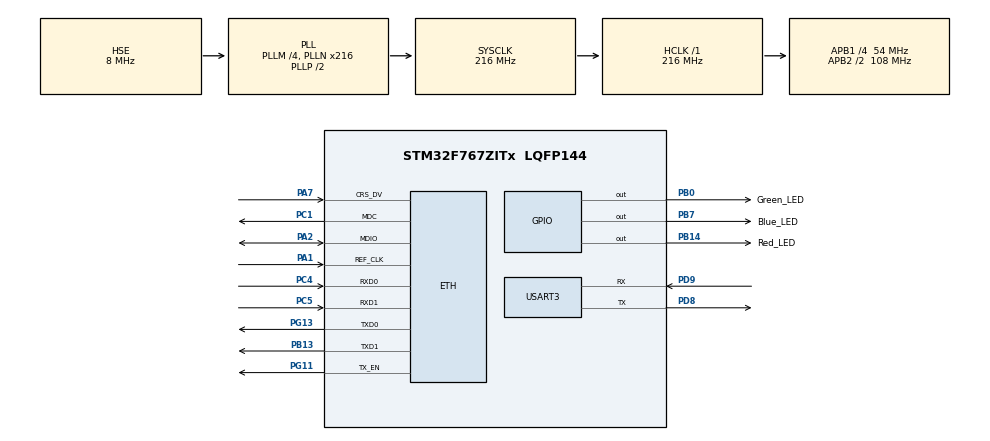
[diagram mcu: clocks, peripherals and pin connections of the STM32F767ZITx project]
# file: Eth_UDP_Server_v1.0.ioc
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ADC1.Channel-0\#ChannelRegularConversion=ADC_CHANNEL_TEMPSENSOR
ADC1.ClockPrescaler=ADC_CLOCK_SYNC_PCLK_DIV8
ADC1.ContinuousConvMode=ENABLE
ADC1.NbrOfConversionFlag=1
ADC1.Rank-0\#ChannelRegularConversion=1
ADC1.SamplingTime-0\#ChannelRegularConversion=ADC_SAMPLETIME_144CYCLES
ADC1.master=1
CORTEX_M7.CPU_DCache=Disabled
CORTEX_M7.CPU_ICache=Disabled
CORTEX_M7.MPU_Control=__NULL
CORTEX_M7.PREFETCH_ENABLE=0
ETH.MACAddr=00\:80\:E1\:00\:00\:01
ETH.MediaInterface=ETH_MEDIA_INTERFACE_RMII
ETH.PhyAddress=0
FREERTOS.INCLUDE_vTaskDelayUntil=1
FREERTOS.Tasks01=defaultTask,0,128,StartDefaultTask,Default,NULL,Dynamic,NULL,NULL
FREERTOS.configGENERATE_RUN_TIME_STATS=1
FREERTOS.configMAX_TASK_NAME_LEN=31
FREERTOS.configRECORD_STACK_HIGH_ADDRESS=1
FREERTOS.configUSE_IDLE_HOOK=1
FREERTOS.configUSE_STATS_FORMATTING_FUNCTIONS=1
FREERTOS.configUSE_TIMERS=1
FREERTOS.configUSE_TRACE_FACILITY=1
LWIP.GATEWAY_ADDRESS=192.168.178.001
LWIP.IP_ADDRESS=192.168.178.031
LWIP.LWIP_DHCP=0
LWIP.MEM_SIZE=10*1024
LWIP.NETMASK_ADDRESS=255.255.255.000
LWIP.Version=v2.1.2_Cube
Mcu.Family=STM32F7
Mcu.Name=STM32F767ZITx
Mcu.Package=LQFP144
NVIC.ETH_IRQn=true\:5\:0\:true\:false\:true\:false\:true\:true\:true
NVIC.ETH_WKUP_IRQn=true\:5\:0\:true\:false\:true\:false\:true\:true\:true
NVIC.PriorityGroup=NVIC_PRIORITYGROUP_4
NVIC.TIM1_TRG_COM_TIM11_IRQn=true\:5\:0\:false\:false\:true\:true\:true\:true\:true
NVIC.TIM1_UP_TIM10_IRQn=true\:0\:0\:false\:false\:true\:false\:false\:true\:true
NVIC.TimeBase=TIM1_UP_TIM10_IRQn
NVIC.TimeBaseIP=TIM10
PA1.Mode=RMII
PA1.Signal=ETH_REF_CLK
PA13.Mode=Serial_Wire
PA13.Signal=SYS_JTMS-SWDIO
PA14.Mode=Serial_Wire
PA14.Signal=SYS_JTCK-SWCLK
PA2.Mode=RMII
PA2.Signal=ETH_MDIO
PA7.Mode=RMII
PA7.Signal=ETH_CRS_DV
PB0.GPIO_Label=Green_LED
PB0.Signal=GPIO_Output
PB13.Mode=RMII
PB13.Signal=ETH_TXD1
PB14.GPIO_Label=Red_LED
PB14.Signal=GPIO_Output
PB7.GPIO_Label=Blue_LED
PB7.Signal=GPIO_Output
PC1.Mode=RMII
PC1.Signal=ETH_MDC
PC4.Mode=RMII
PC4.Signal=ETH_RXD0
PC5.Mode=RMII
PC5.Signal=ETH_RXD1
PD8.Mode=Asynchronous
PD8.Signal=USART3_TX
PD9.Mode=Asynchronous
PD9.Signal=USART3_RX
PG11.Mode=RMII
PG11.Signal=ETH_TX_EN
PG13.Mode=RMII
PG13.Signal=ETH_TXD0
PH0/OSC_IN.Mode=HSE-External-Oscillator
PH0/OSC_IN.Signal=RCC_OSC_IN
PH1/OSC_OUT.Mode=HSE-External-Oscillator
PH1/OSC_OUT.Signal=RCC_OSC_OUT
ProjectManager.HeapSize=0x200
ProjectManager.StackSize=0x400
ProjectManager.TargetToolchain=STM32CubeIDE
RCC.48MHZClocksFreq_Value=24000000
RCC.AHBFreq_Value=216000000
RCC.APB1CLKDivider=RCC_HCLK_DIV4
RCC.APB1Freq_Value=54000000
RCC.APB1TimFreq_Value=108000000
RCC.APB2CLKDivider=RCC_HCLK_DIV2
RCC.APB2Freq_Value=108000000
RCC.APB2TimFreq_Value=216000000
RCC.CortexFreq_Value=216000000
RCC.HCLKFreq_Value=216000000
RCC.HSE_VALUE=8000000
RCC.HSI_VALUE=16000000
RCC.LSE_VALUE=32768
RCC.PLLM=4
RCC.PLLMUL=RCC_PLL_MUL9
RCC.PLLN=216
RCC.PLLSourceVirtual=RCC_PLLSOURCE_HSE
RCC.PRESCALERUSB=RCC_USBCLKSOURCE_PLL_DIV1_5
RCC.SYSCLKFreq_VALUE=216000000
RCC.SYSCLKSource=RCC_SYSCLKSOURCE_PLLCLK
RCC.SYSCLKSourceVirtual=RCC_SYSCLKSOURCE_PLLCLK
RCC.USBFreq_Value=216000000
RCC.VCOOutputFreq_Value=432000000
TIM11.Period=1079
USART3.VirtualMode-Asynchronous=VM_ASYNC
VP_ADC1_TempSens_Input.Mode=IN-TempSens
VP_FREERTOS_VS_CMSIS_V1.Mode=CMSIS_V1
VP_LWIP_VS_Enabled.Mode=Enabled
VP_SYS_VS_tim10.Mode=TIM10
VP_TIM11_VS_ClockSourceINT.Mode=Enable_Timer
board=NUCLEO-F767ZI

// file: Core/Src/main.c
/* USER CODE BEGIN Header */
/**
  ******************************************************************************
  * @file           : main.c
  * @brief          : Main program body
  ******************************************************************************
  * @attention
  * 	-> Keep this as backup. Don't change/edit/update this project.
  * 	-> Test_2B | fromS
  * 	-> Tag: DONE | WORKING | :)
  *
  *		>> improved:
  *			|- FreeRTOS Debugging added
  * 		|- new queue added to send temperature data also through UART
  *
  * Description: Ethernet Programming with implementation of UDP Server
  * 		   : Tasks:- 1. Heart beat implementation using software timer and visualized by
  * 		   				toggeling green led
  * 		          :- 2. Reading internal temperature sensor at 1 kHz frequency and
  * 		                sending the current and average raw value to the gate keeper.
  * 		                Also visualized by toggeling Blue led
  * 		          :- 3. Ethernet UDP server implementation. Receiving the messages
  * 		                from UDP client and sending it to the gate keeper
  * 		                by implementing ECHO function (Visualized by toggeling Red led).
  * 		          :- 4. Gate keeper implementation. Sending the messages via UDP interface.
  *
  *		-TIM11: Used for Debugging purpose (108MHz/(1079+1) = 100 KHz)
  *
  *
  ******************************************************************************
  */
/* USER CODE END Header */
#include "main.h"
//#include "cmsis_os.h"
#include "lwip.h"

/* USER CODE BEGIN Includes */
#include "FreeRTOS.h"
#include "task.h"
#include "queue.h"
#include "lwip/sockets.h"
#include <stdio.h>
/* USER CODE END Includes */

/* USER CODE BEGIN PD */
#define HEART_BEAT_RATE 250				// Heart beat frequency (2Hz)
#define TEMP_READING_RATE 1000			// Temp. reading frequency (1Hz)
#define OWN_PORT 6799					// available server port
#define OWN_IP_ADDR "192.168.178.31"	// available server ip address
#define CLIENT_PORT 7003				// client port
#define TRUE 1
#define FALSE 0
#define BUFFER_LENGTH (40UL)  // Buffer length
/* USER CODE END PD */

 ADC_HandleTypeDef hadc1;

TIM_HandleTypeDef htim11;

UART_HandleTypeDef huart3;

//osThreadId defaultTaskHandle;
/* USER CODE BEGIN PV */
//TimerHandle_t HeartBeat_Timer;
//BaseType_t Timer_State;
QueueHandle_t Own_Queue;
QueueHandle_t temperatureVal_queue;
int socket_id;			// variable for socket id
// Struct variable to pass data to gate keeper task
typedef struct queue_struct{
	in_addr_t addr;
	in_port_t port;
	char msg_buffer[BUFFER_LENGTH];
}queue_struct;
typedef struct tempVal_struct{
	uint32_t lastVal;
	uint32_t avrVal;
}tempVal_struct;
/* USER CODE END PV */

void SystemClock_Config(void);
static void MX_GPIO_Init(void);
static void MX_ADC1_Init(void);
static void MX_USART3_UART_Init(void);
static void MX_TIM11_Init(void);
//void StartDefaultTask(void const * argument);

/* USER CODE BEGIN PFP */
void vTemp_Task(void *pvParameters);			// Temperature task
void HeartBeatCallback(TimerHandle_t xTimer);	// Software timer
void vGateKeeper_Task(void *pvParameters);		// Gaterkeeper task
void vUDP_Task(void *pvParameters);				// UDP task
void vAplicationIdleHook(void);					// Idle Hook task
/* USER CODE END PFP */

int main(void)
{
  /* USER CODE BEGIN 1 */
  TimerHandle_t HeartBeat_Timer;
  BaseType_t Timer_State;

  /* USER CODE END 1 */

  /* MCU Configuration--------------------------------------------------------*/

  /* Reset of all peripherals, Initializes the Flash interface and the Systick. */
  HAL_Init();

  /* Configure the system clock */
  SystemClock_Config();

  /* Initialize all configured peripherals */
  MX_GPIO_Init();
  MX_ADC1_Init();
  MX_USART3_UART_Init();
  MX_TIM11_Init();
  /* USER CODE BEGIN 2 */
  // sending data through USART at the beginning of Programm

  MX_LWIP_Init();

  char stri[] = "\n---------- Programm started!!! ----------\n\n\r";
  HAL_UART_Transmit(&huart3, (uint8_t*)stri, strlen(stri), HAL_MAX_DELAY);

  /* USER CODE END 2 */

  /* USER CODE BEGIN RTOS_MUTEX */
  /* add mutexes, ... */
  Own_Queue = xQueueCreate(3,sizeof(struct queue_struct));
  temperatureVal_queue = xQueueCreate(5, sizeof(tempVal_struct));
  /* USER CODE END RTOS_MUTEX */

  /* USER CODE BEGIN RTOS_TIMERS */
  /* start timers, add new ones, ... */
  HeartBeat_Timer = xTimerCreate("HeartBeat", pdMS_TO_TICKS(HEART_BEAT_RATE), pdTRUE, 0, HeartBeatCallback);
  /* USER CODE END RTOS_TIMERS */

  /* Create the thread(s) */
  /* definition and creation of defaultTask */
//  osThreadDef(defaultTask, StartDefaultTask, osPriorityNormal, 0, 128);
//  defaultTaskHandle = osThreadCreate(osThread(defaultTask), NULL);

  /* USER CODE BEGIN RTOS_THREADS */
  /* add threads, ... */
  xTaskCreate(vTemp_Task, "Temp_Task",configMINIMAL_STACK_SIZE*2, NULL,1, NULL);		// Stacksize 128kB
  xTaskCreate(vGateKeeper_Task,"GateKeeper",4*configMINIMAL_STACK_SIZE,NULL,2,NULL);	// Stacksize 4*128kB
  xTaskCreate(vUDP_Task,"UDP_Task",4*configMINIMAL_STACK_SIZE,NULL,1,NULL);					// Stacksize 4*128kB

  if(HeartBeat_Timer != NULL){
	  Timer_State = xTimerStart(HeartBeat_Timer,0);
	  if(Timer_State == pdPASS){
		  vTaskStartScheduler();
	  }
  }

  /* USER CODE END RTOS_THREADS */

  /* Start scheduler */
//  osKernelStart();

  /* We should never get here as control is now taken by the scheduler */
  /* Infinite loop */
  while (1)
  {

  }
}

void SystemClock_Config(void)
{
  RCC_OscInitTypeDef RCC_OscInitStruct = {0};
  RCC_ClkInitTypeDef RCC_ClkInitStruct = {0};

  /** Configure the main internal regulator output voltage
  */
  __HAL_RCC_PWR_CLK_ENABLE();
  __HAL_PWR_VOLTAGESCALING_CONFIG(PWR_REGULATOR_VOLTAGE_SCALE1);

  /** Initializes the RCC Oscillators according to the specified parameters
  * in the RCC_OscInitTypeDef structure.
  */
  RCC_OscInitStruct.OscillatorType = RCC_OSCILLATORTYPE_HSE;
  RCC_OscInitStruct.HSEState = RCC_HSE_ON;
  RCC_OscInitStruct.PLL.PLLState = RCC_PLL_ON;
  RCC_OscInitStruct.PLL.PLLSource = RCC_PLLSOURCE_HSE;
  RCC_OscInitStruct.PLL.PLLM = 4;
  RCC_OscInitStruct.PLL.PLLN = 216;
  RCC_OscInitStruct.PLL.PLLP = RCC_PLLP_DIV2;
  RCC_OscInitStruct.PLL.PLLQ = 2;
  RCC_OscInitStruct.PLL.PLLR = 2;
  if (HAL_RCC_OscConfig(&RCC_OscInitStruct) != HAL_OK)
  {
    Error_Handler();
  }

  /** Activate the Over-Drive mode
  */
  if (HAL_PWREx_EnableOverDrive() != HAL_OK)
  {
    Error_Handler();
  }

  /** Initializes the CPU, AHB and APB buses clocks
  */
  RCC_ClkInitStruct.ClockType = RCC_CLOCKTYPE_HCLK|RCC_CLOCKTYPE_SYSCLK
                              |RCC_CLOCKTYPE_PCLK1|RCC_CLOCKTYPE_PCLK2;
  RCC_ClkInitStruct.SYSCLKSource = RCC_SYSCLKSOURCE_PLLCLK;
  RCC_ClkInitStruct.AHBCLKDivider = RCC_SYSCLK_DIV1;
  RCC_ClkInitStruct.APB1CLKDivider = RCC_HCLK_DIV4;
  RCC_ClkInitStruct.APB2CLKDivider = RCC_HCLK_DIV2;

  if (HAL_RCC_ClockConfig(&RCC_ClkInitStruct, FLASH_LATENCY_7) != HAL_OK)
  {
    Error_Handler();
  }
}

static void MX_ADC1_Init(void)
{

  ADC_ChannelConfTypeDef sConfig = {0};

  /** Configure the global features of the ADC (Clock, Resolution, Data Alignment and number of conversion)
  */
  hadc1.Instance = ADC1;
  hadc1.Init.ClockPrescaler = ADC_CLOCK_SYNC_PCLK_DIV8;
  hadc1.Init.Resolution = ADC_RESOLUTION_12B;
  hadc1.Init.ScanConvMode = ADC_SCAN_DISABLE;
  hadc1.Init.ContinuousConvMode = ENABLE;
  hadc1.Init.DiscontinuousConvMode = DISABLE;
  hadc1.Init.ExternalTrigConvEdge = ADC_EXTERNALTRIGCONVEDGE_NONE;
  hadc1.Init.ExternalTrigConv = ADC_SOFTWARE_START;
  hadc1.Init.DataAlign = ADC_DATAALIGN_RIGHT;
  hadc1.Init.NbrOfConversion = 1;
  hadc1.Init.DMAContinuousRequests = DISABLE;
  hadc1.Init.EOCSelection = ADC_EOC_SINGLE_CONV;
  if (HAL_ADC_Init(&hadc1) != HAL_OK)
  {
    Error_Handler();
  }

  /** Configure for the selected ADC regular channel its corresponding rank in the sequencer and its sample time.
  */
  sConfig.Channel = ADC_CHANNEL_TEMPSENSOR;
  sConfig.Rank = ADC_REGULAR_RANK_1;
  sConfig.SamplingTime = ADC_SAMPLETIME_144CYCLES;
  if (HAL_ADC_ConfigChannel(&hadc1, &sConfig) != HAL_OK)
  {
    Error_Handler();
  }

}

static void MX_TIM11_Init(void)
{

  htim11.Instance = TIM11;
  htim11.Init.Prescaler = 0;
  htim11.Init.CounterMode = TIM_COUNTERMODE_UP;
  htim11.Init.Period = 1079;
  htim11.Init.ClockDivision = TIM_CLOCKDIVISION_DIV1;
  htim11.Init.AutoReloadPreload = TIM_AUTORELOAD_PRELOAD_DISABLE;
  if (HAL_TIM_Base_Init(&htim11) != HAL_OK)
  {
    Error_Handler();
  }

}

static void MX_USART3_UART_Init(void)
{

  huart3.Instance = USART3;
  huart3.Init.BaudRate = 115200;
  huart3.Init.WordLength = UART_WORDLENGTH_8B;
  huart3.Init.StopBits = UART_STOPBITS_1;
  huart3.Init.Parity = UART_PARITY_NONE;
  huart3.Init.Mode = UART_MODE_TX_RX;
  huart3.Init.HwFlowCtl = UART_HWCONTROL_NONE;
  huart3.Init.OverSampling = UART_OVERSAMPLING_16;
  huart3.Init.OneBitSampling = UART_ONE_BIT_SAMPLE_DISABLE;
  huart3.AdvancedInit.AdvFeatureInit = UART_ADVFEATURE_NO_INIT;
  if (HAL_UART_Init(&huart3) != HAL_OK)
  {
    Error_Handler();
  }

}

static void MX_GPIO_Init(void)
{
  GPIO_InitTypeDef GPIO_InitStruct = {0};

  /* GPIO Ports Clock Enable */
  __HAL_RCC_GPIOH_CLK_ENABLE();
  __HAL_RCC_GPIOC_CLK_ENABLE();
  __HAL_RCC_GPIOA_CLK_ENABLE();
  __HAL_RCC_GPIOB_CLK_ENABLE();
  __HAL_RCC_GPIOD_CLK_ENABLE();
  __HAL_RCC_GPIOG_CLK_ENABLE();

  /*Configure GPIO pin Output Level */
  HAL_GPIO_WritePin(GPIOB, Green_LED_Pin|Red_LED_Pin|Blue_LED_Pin, GPIO_PIN_RESET);

  /*Configure GPIO pins : Green_LED_Pin Red_LED_Pin Blue_LED_Pin */
  GPIO_InitStruct.Pin = Green_LED_Pin|Red_LED_Pin|Blue_LED_Pin;
  GPIO_InitStruct.Mode = GPIO_MODE_OUTPUT_PP;
  GPIO_InitStruct.Pull = GPIO_NOPULL;
  GPIO_InitStruct.Speed = GPIO_SPEED_FREQ_LOW;
  HAL_GPIO_Init(GPIOB, &GPIO_InitStruct);

}

/* USER CODE BEGIN 4 */
/* Idle Hook task */
void vAplicationIdleHook(void){
	__WFI();
}

/* Timer callback function */
void HeartBeatCallback(TimerHandle_t xTimer){
	HAL_GPIO_TogglePin(GPIOB, Green_LED_Pin);
}

/* Temperature reading task */
void vTemp_Task(void *pvParameters)
{
	char stri1[] = "{vTemp_Task} [Info]	Entered vTemp_Task.\n\r";
    HAL_UART_Transmit(&huart3, (uint8_t*)stri1, strlen(stri1), HAL_MAX_DELAY);

	TickType_t xLastWakeTime;
	static uint16_t counter = 0; // Counter variable to count tempr. reading
	static uint32_t temp_sum = 0; // variable to store sum of temp. value
	uint32_t temp = 0;			// variable to store current temp. value
	uint32_t temp_avr = 0;		// variable to store average temp. value
	queue_struct from_temp_task; // structure variable to store data for gate keeper task
	from_temp_task.port = htons(CLIENT_PORT);	// port for client
	from_temp_task.addr = IPADDR_BROADCAST;	// client address
	// variable for data over uart
	tempVal_struct tempStruct;

	xLastWakeTime = xTaskGetTickCount();

	while(1){

		/* Read temp. adc value */
		HAL_ADC_Start(&hadc1);
		while(HAL_ADC_PollForConversion(&hadc1,1) != HAL_OK){}
		temp = HAL_ADC_GetValue(&hadc1);
		temp_sum += temp;
		counter++;
		temp_avr = temp_sum / counter;	// get average value
		HAL_ADC_Stop(&hadc1);

		memset(&from_temp_task.msg_buffer, 0, BUFFER_LENGTH); // clear the character buffer
		/* make a string */
		sprintf(from_temp_task.msg_buffer,"Cur_Temp= %lu , Avr_Temp= %lu\n",(unsigned long)temp,(unsigned long)temp_avr);

		tempStruct.lastVal = temp;
		tempStruct.avrVal = temp_avr;

		HAL_GPIO_TogglePin(GPIOB, Blue_LED_Pin);	// toggel blue led

		xQueueSendToBack(Own_Queue, &from_temp_task, 10);	// send message to gatekeeper task
		xQueueSendToBack(temperatureVal_queue, &tempStruct, 10);

		vTaskDelayUntil(&xLastWakeTime, TEMP_READING_RATE); // wait till timeout
	}
}

/* UDP task */
void vUDP_Task(void *pvParameters)
{
	char stri1[] = "{vUDP_Task} [Info]	Entered vUDP_Task.\n\r";
	HAL_UART_Transmit(&huart3, (uint8_t*)stri1, strlen(stri1), HAL_MAX_DELAY);

	struct sockaddr_in client_addr; // struct variable for udp client
	struct sockaddr_in server_addr; // struct variable for udp server
	queue_struct from_udp_task;		// struct variable to pass through gate keeper
	uint8_t echo_flag = FALSE;		// echo flag
	socklen_t from_len;

	/*
	 * Create socket descriptor : "Domain=AF_INET","Type=SOCK_DGRAM","Protocol=0"
	 *  AF_INET= Connect with different machine, SOCK_DGRAM= UDP, 0=No additional protocol
	 *  */

	HAL_GPIO_WritePin(GPIOB, Red_LED_Pin, GPIO_PIN_SET); // turn on Red-LED

	socket_id = socket(AF_INET,SOCK_DGRAM,0);

//	Reset structure variable
	memset(&server_addr, 0, sizeof(server_addr));
	memset(&client_addr, 0, sizeof(client_addr));

// Initialize port
	server_addr.sin_family = AF_INET;	// Domain used in socket descriptor
	server_addr.sin_addr.s_addr = inet_addr(OWN_IP_ADDR); // Permit given IP Address
//	server_addr.sin_addr.s_addr = htonl(INADDR_ANY);
	server_addr.sin_port = htons(OWN_PORT);	// Permit given Port

//	Bind the socket to a defined port
	if (bind(socket_id,(struct sockaddr *) &server_addr, sizeof(server_addr)) == -1){
		Error_Handler();
	}

	from_len = sizeof(client_addr);

//	Endlos loop
	while(1){
		HAL_GPIO_TogglePin(GPIOB, Red_LED_Pin);	// toggle blue led

//	Clear recv_data array
		memset(&from_udp_task.msg_buffer,0,BUFFER_LENGTH);
//	Receive data from server
		recvfrom(socket_id,from_udp_task.msg_buffer,sizeof(from_udp_task.msg_buffer),0,(struct sockaddr *)&client_addr,&from_len);

// Set flag according received message
		if(strcmp(from_udp_task.msg_buffer,"ECHO_ON") == 0){
//			HAL_GPIO_WritePin(GPIOB, Red_LED_Pin,GPIO_PIN_SET);
			echo_flag = TRUE;
		}
		else if(strcmp(from_udp_task.msg_buffer,"ECHO_OFF")== 0){
//			HAL_GPIO_WritePin(GPIOB, Red_LED_Pin,GPIO_PIN_RESET);
			echo_flag = FALSE;
		}

		if (echo_flag == TRUE){
			from_udp_task.addr = client_addr.sin_addr.s_addr;
			from_udp_task.port = client_addr.sin_port;
			/* Make string */
			sprintf(from_udp_task.msg_buffer, "%s\n", from_udp_task.msg_buffer);
			xQueueSend(Own_Queue, &from_udp_task, 10); // send to gatekeeper task
		}
	}
}

/* Gatekeeper task */
void vGateKeeper_Task(void *pvParameters)
{
	char stri1[] = "{vGateKeeper_Task} [Info]	Entered vGateKeeper_Task.\n\r";
	HAL_UART_Transmit(&huart3, (uint8_t*)stri1, strlen(stri1), HAL_MAX_DELAY);

	queue_struct recv_from; // struct variable to store received message from queue
	struct sockaddr_in client_addr; // struct variable for udp client

	tempVal_struct tempStruct;
	char s_tempVal[50];

	while(1){
		memset(&recv_from,0,sizeof(recv_from)); // reset the struct variable
		xQueueReceive(Own_Queue, &recv_from, portMAX_DELAY); // receive message

		/* UDP client initialization */
		client_addr.sin_family = AF_INET;
		client_addr.sin_addr.s_addr = recv_from.addr;
		client_addr.sin_port = recv_from.port;

		// Send Temperature data through UART
		xQueueReceive(temperatureVal_queue, &tempStruct, portMAX_DELAY); // receive message
		sprintf(s_tempVal,"Temp-Last-Val= %lu , Temp-Avr-Val= %lu\n\r", tempStruct.lastVal, tempStruct.avrVal);
		HAL_UART_Transmit(&huart3, (uint8_t*)s_tempVal, strlen(s_tempVal), HAL_MAX_DELAY);

		/* Send message via UDP interface */
		sendto(socket_id,recv_from.msg_buffer,sizeof(recv_from.msg_buffer),0,(struct sockaddr *)&client_addr,sizeof(client_addr));

//		char *hello = "Hello from server";

//		sendto(socket_id, (const char *)hello, strlen(hello), 0, (const struct sockaddr *) &client_addr, sizeof(client_addr));
	}
}
/* USER CODE END 4 */

//void StartDefaultTask(void const * argument)
//{
//  /* init code for LWIP */
//  MX_LWIP_Init();
//  /* USER CODE BEGIN 5 */
//  /* Infinite loop */
//  for(;;)
//  {
//    osDelay(1);
//  }
//  /* USER CODE END 5 */
//}

void HAL_TIM_PeriodElapsedCallback(TIM_HandleTypeDef *htim)
{
  if (htim->Instance == TIM10) {
    HAL_IncTick();
  }
}

void Error_Handler(void)
{
}

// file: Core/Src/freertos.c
/* USER CODE BEGIN Header */
/**
  ******************************************************************************
  * File Name          : freertos.c
  * Description        : Code for freertos applications
  ******************************************************************************
  * @attention
  *
  * <h2><center>&copy; Copyright (c) 2022 STMicroelectronics.
  * All rights reserved.</center></h2>
  *
  * This software component is licensed by ST under Ultimate Liberty license
  * SLA0044, the "License"; You may not use this file except in compliance with
  * the License. You may obtain a copy of the License at:
  *                             www.st.com/SLA0044
  *
  ******************************************************************************
  */
/* USER CODE END Header */

#include "FreeRTOS.h"
#include "task.h"
#include "main.h"

/* USER CODE BEGIN Variables */
volatile unsigned long ulStatsTimerticks;
extern TIM_HandleTypeDef htim11;
/* USER CODE END Variables */

/* GetIdleTaskMemory prototype (linked to static allocation support) */
void vApplicationGetIdleTaskMemory( StaticTask_t **ppxIdleTaskTCBBuffer, StackType_t **ppxIdleTaskStackBuffer, uint32_t *pulIdleTaskStackSize );

/* GetTimerTaskMemory prototype (linked to static allocation support) */
void vApplicationGetTimerTaskMemory( StaticTask_t **ppxTimerTaskTCBBuffer, StackType_t **ppxTimerTaskStackBuffer, uint32_t *pulTimerTaskStackSize );

/* Hook prototypes */
void configureTimerForRunTimeStats(void);
unsigned long getRunTimeCounterValue(void);
void vApplicationIdleHook(void);

/* USER CODE BEGIN 1 */
/* Functions needed when configGENERATE_RUN_TIME_STATS is on */
__weak void configureTimerForRunTimeStats(void)
{
//	ulStatsTimerticks = 0;
//	HAL_TIM_Base_Start_IT(&htim11);
	CoreDebug->DEMCR |= CoreDebug_DEMCR_TRCENA_Msk;
	DWT->CTRL |= 1;
	DWT->CYCCNT = 0;
}

__weak unsigned long getRunTimeCounterValue(void)
{
//	return ulStatsTimerticks;
	return DWT->CYCCNT;
}
/* USER CODE END 1 */

/* USER CODE BEGIN 2 */
__weak void vApplicationIdleHook( void )
{
   /* vApplicationIdleHook() will only be called if configUSE_IDLE_HOOK is set
   to 1 in FreeRTOSConfig.h. It will be called on each iteration of the idle
   task. It is essential that code added to this hook function never attempts
   to block in any way (for example, call xQueueReceive() with a block time
   specified, or call vTaskDelay()). If the application makes use of the
   vTaskDelete() API function (as this demo application does) then it is also
   important that vApplicationIdleHook() is permitted to return to its calling
   function, because it is the responsibility of the idle task to clean up
   memory allocated by the kernel to any task that has since been deleted. */
}
/* USER CODE END 2 */

/* USER CODE BEGIN GET_IDLE_TASK_MEMORY */
static StaticTask_t xIdleTaskTCBBuffer;
static StackType_t xIdleStack[configMINIMAL_STACK_SIZE];

void vApplicationGetIdleTaskMemory( StaticTask_t **ppxIdleTaskTCBBuffer, StackType_t **ppxIdleTaskStackBuffer, uint32_t *pulIdleTaskStackSize )
{
  *ppxIdleTaskTCBBuffer = &xIdleTaskTCBBuffer;
  *ppxIdleTaskStackBuffer = &xIdleStack[0];
  *pulIdleTaskStackSize = configMINIMAL_STACK_SIZE;
  /* place for user code */
}
/* USER CODE END GET_IDLE_TASK_MEMORY */

/* USER CODE BEGIN GET_TIMER_TASK_MEMORY */
static StaticTask_t xTimerTaskTCBBuffer;
static StackType_t xTimerStack[configTIMER_TASK_STACK_DEPTH];

void vApplicationGetTimerTaskMemory( StaticTask_t **ppxTimerTaskTCBBuffer, StackType_t **ppxTimerTaskStackBuffer, uint32_t *pulTimerTaskStackSize )
{
  *ppxTimerTaskTCBBuffer = &xTimerTaskTCBBuffer;
  *ppxTimerTaskStackBuffer = &xTimerStack[0];
  *pulTimerTaskStackSize = configTIMER_TASK_STACK_DEPTH;
  /* place for user code */
}
/* USER CODE END GET_TIMER_TASK_MEMORY */
